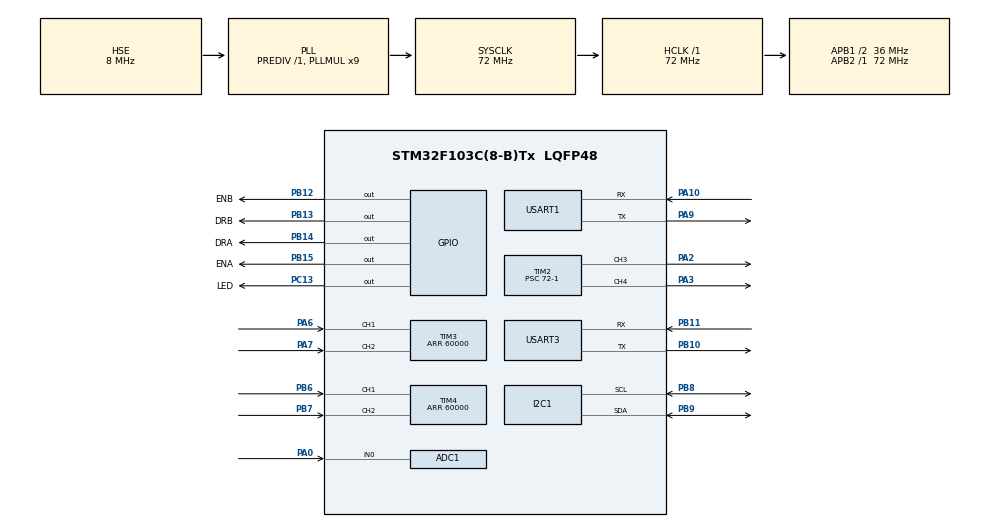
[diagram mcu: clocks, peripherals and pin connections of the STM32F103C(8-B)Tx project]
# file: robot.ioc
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ADC1.Channel-0\#ChannelRegularConversion=ADC_CHANNEL_0
ADC1.NbrOfConversionFlag=1
ADC1.Rank-0\#ChannelRegularConversion=1
ADC1.SamplingTime-0\#ChannelRegularConversion=ADC_SAMPLETIME_1CYCLE_5
ADC1.master=1
Dma.Request0=USART3_RX
Dma.USART3_RX.0.Direction=DMA_PERIPH_TO_MEMORY
Dma.USART3_RX.0.Instance=DMA1_Channel3
Dma.USART3_RX.0.MemDataAlignment=DMA_MDATAALIGN_BYTE
Dma.USART3_RX.0.MemInc=DMA_MINC_ENABLE
Dma.USART3_RX.0.Mode=DMA_NORMAL
Dma.USART3_RX.0.PeriphDataAlignment=DMA_PDATAALIGN_BYTE
Dma.USART3_RX.0.PeriphInc=DMA_PINC_DISABLE
Dma.USART3_RX.0.Priority=DMA_PRIORITY_LOW
FREERTOS.Tasks01=defaultTask,24,128,StartDefaultTask,Default,NULL,Dynamic,NULL,NULL
FREERTOS.configLIBRARY_MAX_SYSCALL_INTERRUPT_PRIORITY=5
FREERTOS.configTOTAL_HEAP_SIZE=8192
FREERTOS.configUSE_NEWLIB_REENTRANT=0
I2C1.I2C_Mode=I2C_Fast
Mcu.Family=STM32F1
Mcu.Name=STM32F103C(8-B)Tx
Mcu.Package=LQFP48
NVIC.DMA1_Channel3_IRQn=true\:5\:0\:true\:false\:true\:true\:false\:true\:true
NVIC.PriorityGroup=NVIC_PRIORITYGROUP_4
NVIC.TIM1_UP_IRQn=true\:15\:0\:true\:false\:true\:false\:false\:true\:true
NVIC.TimeBase=TIM1_UP_IRQn
NVIC.TimeBaseIP=TIM1
NVIC.USART1_IRQn=true\:5\:0\:true\:false\:true\:true\:true\:true\:true
NVIC.USART3_IRQn=true\:5\:0\:true\:false\:true\:true\:true\:true\:true
PA0-WKUP.Signal=ADCx_IN0
PA10.Mode=Asynchronous
PA10.Signal=USART1_RX
PA13.Mode=Serial_Wire
PA13.Signal=SYS_JTMS-SWDIO
PA14.Mode=Serial_Wire
PA14.Signal=SYS_JTCK-SWCLK
PA2.Signal=S_TIM2_CH3
PA3.Signal=S_TIM2_CH4
PA6.Signal=S_TIM3_CH1
PA7.Signal=S_TIM3_CH2
PA9.Mode=Asynchronous
PA9.Signal=USART1_TX
PB10.Mode=Asynchronous
PB10.Signal=USART3_TX
PB11.Mode=Asynchronous
PB11.Signal=USART3_RX
PB12.GPIO_Label=ENB
PB12.Signal=GPIO_Output
PB13.GPIO_Label=DRB
PB13.Signal=GPIO_Output
PB14.GPIO_Label=DRA
PB14.Signal=GPIO_Output
PB15.GPIO_Label=ENA
PB15.Signal=GPIO_Output
PB6.Signal=S_TIM4_CH1
PB7.Signal=S_TIM4_CH2
PB8.Mode=I2C
PB8.Signal=I2C1_SCL
PB9.Mode=I2C
PB9.Signal=I2C1_SDA
PC13-TAMPER-RTC.GPIO_Label=LED
PC13-TAMPER-RTC.Signal=GPIO_Output
PC14-OSC32_IN.Mode=LSE-External-Oscillator
PC14-OSC32_IN.Signal=RCC_OSC32_IN
PC15-OSC32_OUT.Mode=LSE-External-Oscillator
PC15-OSC32_OUT.Signal=RCC_OSC32_OUT
PD0-OSC_IN.Mode=HSE-External-Oscillator
PD0-OSC_IN.Signal=RCC_OSC_IN
PD1-OSC_OUT.Mode=HSE-External-Oscillator
PD1-OSC_OUT.Signal=RCC_OSC_OUT
ProjectManager.HeapSize=0x200
ProjectManager.StackSize=0x400
ProjectManager.TargetToolchain=Makefile
RCC.ADCPresc=RCC_ADCPCLK2_DIV6
RCC.AHBFreq_Value=72000000
RCC.APB1CLKDivider=RCC_HCLK_DIV2
RCC.APB1Freq_Value=36000000
RCC.APB1TimFreq_Value=72000000
RCC.APB2Freq_Value=72000000
RCC.APB2TimFreq_Value=72000000
RCC.HCLKFreq_Value=72000000
RCC.PLLMUL=RCC_PLL_MUL9
RCC.PLLSourceVirtual=RCC_PLLSOURCE_HSE
RCC.SYSCLKFreq_VALUE=72000000
RCC.SYSCLKSource=RCC_SYSCLKSOURCE_PLLCLK
RCC.USBFreq_Value=72000000
SH.ADCx_IN0.0=ADC1_IN0,IN0
SH.S_TIM2_CH3.0=TIM2_CH3,PWM Generation3 CH3
SH.S_TIM2_CH4.0=TIM2_CH4,PWM Generation4 CH4
SH.S_TIM3_CH1.0=TIM3_CH1,Encoder_Interface
SH.S_TIM3_CH2.0=TIM3_CH2,Encoder_Interface
SH.S_TIM4_CH1.0=TIM4_CH1,Encoder_Interface
SH.S_TIM4_CH2.0=TIM4_CH2,Encoder_Interface
TIM2.Channel-PWM\ Generation3\ CH3=TIM_CHANNEL_3
TIM2.Channel-PWM\ Generation4\ CH4=TIM_CHANNEL_4
TIM2.Period=1000-1
TIM2.Prescaler=72-1
TIM3.EncoderMode=TIM_ENCODERMODE_TI12
TIM3.Period=60000
TIM4.EncoderMode=TIM_ENCODERMODE_TI12
TIM4.Period=60000
USART1.VirtualMode=VM_ASYNC
USART3.VirtualMode=VM_ASYNC
VP_FREERTOS_VS_CMSIS_V2.Mode=CMSIS_V2
VP_SYS_VS_tim1.Mode=TIM1
board=custom

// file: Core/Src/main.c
/* USER CODE BEGIN Header */
/**
  ******************************************************************************
  * @file           : main.c
  * @brief          : Main program body
  ******************************************************************************
  * @attention
  *
  * Copyright (c) 2022 STMicroelectronics.
  * All rights reserved.
  *
  * This software is licensed under terms that can be found in the LICENSE file
  * in the root directory of this software component.
  * If no LICENSE file comes with this software, it is provided AS-IS.
  *
  ******************************************************************************
  */
/* USER CODE END Header */
#include "main.h"
#include "cmsis_os.h"
#include "adc.h"
#include "dma.h"
#include "i2c.h"
#include "tim.h"
#include "usart.h"
#include "gpio.h"

/* USER CODE BEGIN Includes */
#include "bsp_led.h"
#include "bsp_encoder.h"
#include "bsp_motor.h"
#include "bsp_usart.h"
#include "bsp_cmd.h"
#include "imu_zero.hpp"
#include "bsp_imu.h"

/* USER CODE END Includes */

void SystemClock_Config(void);
void MX_FREERTOS_Init(void);

int main(void)
{

  /* MCU Configuration--------------------------------------------------------*/

  /* Reset of all peripherals, Initializes the Flash interface and the Systick. */
  HAL_Init();

  /* Configure the system clock */
  SystemClock_Config();

  /* Initialize all configured peripherals */
  MX_GPIO_Init();
  MX_ADC1_Init();
  MX_TIM2_Init();
  MX_TIM3_Init();
  MX_TIM4_Init();
  MX_USART1_UART_Init();
  MX_DMA_Init();
  MX_USART3_UART_Init();
  MX_I2C1_Init();
  /* USER CODE BEGIN 2 */
  log_init();
  led_init();
  encoder_init();
  motor_init();
  usart_init();
  //imu_zero();
  imu_init();
  /* USER CODE END 2 */

  /* Init scheduler */
  osKernelInitialize();  /* Call init function for freertos objects (in freertos.c) */
  MX_FREERTOS_Init();

  /* Start scheduler */
  osKernelStart();

  /* We should never get here as control is now taken by the scheduler */
  /* Infinite loop */
  while (1)
  {

  }
}

void SystemClock_Config(void)
{
  RCC_OscInitTypeDef RCC_OscInitStruct = {0};
  RCC_ClkInitTypeDef RCC_ClkInitStruct = {0};
  RCC_PeriphCLKInitTypeDef PeriphClkInit = {0};

  /** Initializes the RCC Oscillators according to the specified parameters
  * in the RCC_OscInitTypeDef structure.
  */
  RCC_OscInitStruct.OscillatorType = RCC_OSCILLATORTYPE_HSE;
  RCC_OscInitStruct.HSEState = RCC_HSE_ON;
  RCC_OscInitStruct.HSEPredivValue = RCC_HSE_PREDIV_DIV1;
  RCC_OscInitStruct.HSIState = RCC_HSI_ON;
  RCC_OscInitStruct.PLL.PLLState = RCC_PLL_ON;
  RCC_OscInitStruct.PLL.PLLSource = RCC_PLLSOURCE_HSE;
  RCC_OscInitStruct.PLL.PLLMUL = RCC_PLL_MUL9;
  if (HAL_RCC_OscConfig(&RCC_OscInitStruct) != HAL_OK)
  {
    Error_Handler();
  }

  /** Initializes the CPU, AHB and APB buses clocks
  */
  RCC_ClkInitStruct.ClockType = RCC_CLOCKTYPE_HCLK|RCC_CLOCKTYPE_SYSCLK
                              |RCC_CLOCKTYPE_PCLK1|RCC_CLOCKTYPE_PCLK2;
  RCC_ClkInitStruct.SYSCLKSource = RCC_SYSCLKSOURCE_PLLCLK;
  RCC_ClkInitStruct.AHBCLKDivider = RCC_SYSCLK_DIV1;
  RCC_ClkInitStruct.APB1CLKDivider = RCC_HCLK_DIV2;
  RCC_ClkInitStruct.APB2CLKDivider = RCC_HCLK_DIV1;

  if (HAL_RCC_ClockConfig(&RCC_ClkInitStruct, FLASH_LATENCY_2) != HAL_OK)
  {
    Error_Handler();
  }
  PeriphClkInit.PeriphClockSelection = RCC_PERIPHCLK_ADC;
  PeriphClkInit.AdcClockSelection = RCC_ADCPCLK2_DIV6;
  if (HAL_RCCEx_PeriphCLKConfig(&PeriphClkInit) != HAL_OK)
  {
    Error_Handler();
  }
}

void HAL_TIM_PeriodElapsedCallback(TIM_HandleTypeDef *htim)
{
  if (htim->Instance == TIM1) {
    HAL_IncTick();
  }
}

void Error_Handler(void)
{
  __disable_irq();
  while (1)
  {
  }
}

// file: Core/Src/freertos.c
/* USER CODE BEGIN Header */
/**
  ******************************************************************************
  * File Name          : freertos.c
  * Description        : Code for freertos applications
  ******************************************************************************
  * @attention
  *
  * Copyright (c) 2022 STMicroelectronics.
  * All rights reserved.
  *
  * This software is licensed under terms that can be found in the LICENSE file
  * in the root directory of this software component.
  * If no LICENSE file comes with this software, it is provided AS-IS.
  *
  ******************************************************************************
  */
/* USER CODE END Header */

#include "FreeRTOS.h"
#include "task.h"
#include "main.h"
#include "cmsis_os.h"

/* USER CODE BEGIN Includes */
#include "led_task.h"
#include "move_task.h"
#include "cmd_task.h"
#include "sned_task.h"
#include "imu_task.h"
/* USER CODE END Includes */

/* Definitions for defaultTask */
osThreadId_t defaultTaskHandle;
const osThreadAttr_t defaultTask_attributes = {
  .name = "defaultTask",
  .stack_size = 128 * 4,
  .priority = (osPriority_t) osPriorityNormal,
};

/* USER CODE BEGIN FunctionPrototypes */

osThreadId_t ledTaskHandle;
const osThreadAttr_t ledTask_attributes = {
  .name = "led_task",
  .stack_size = 128 * 4,
  .priority = (osPriority_t) osPriorityNormal1,
};

osThreadId_t cmdTaskHandle;
const osThreadAttr_t cmdTask_attributes = {
  .name = "cmd_task",
  .stack_size = 128 * 4,
  .priority = (osPriority_t) osPriorityNormal2,
};

osThreadId_t moveTaskHandle;
const osThreadAttr_t moveTask_attributes = {
  .name = "move_task",
  .stack_size = 256 * 4,
  .priority = (osPriority_t) osPriorityNormal3,
};

osThreadId_t snedTaskHandle;
const osThreadAttr_t snedTask_attributes = {
  .name = "sned_task",
  .stack_size = 128 * 4,
  .priority = (osPriority_t) osPriorityNormal4,
};

osThreadId_t imuTaskHandle;
const osThreadAttr_t imuTask_attributes = {
  .name = "imu_task",
  .stack_size = 1024 * 4,
  .priority = (osPriority_t) osPriorityHigh1,
};

/* USER CODE END FunctionPrototypes */

void StartDefaultTask(void *argument);

void MX_FREERTOS_Init(void); /* (MISRA C 2004 rule 8.1) */

void MX_FREERTOS_Init(void) {

  /* Create the thread(s) */
  /* creation of defaultTask */
  defaultTaskHandle = osThreadNew(StartDefaultTask, NULL, &defaultTask_attributes);

  /* USER CODE BEGIN RTOS_THREADS */
  /* add threads, ... */

  ledTaskHandle = osThreadNew(led_task, NULL, &ledTask_attributes);
  cmdTaskHandle = osThreadNew(cmd_task, NULL, &cmdTask_attributes);
  moveTaskHandle = osThreadNew(move_task, NULL, &moveTask_attributes);
  snedTaskHandle = osThreadNew(send_task, NULL, &snedTask_attributes);
  imuTaskHandle = osThreadNew(imu_task, NULL, &imuTask_attributes);
  /* USER CODE END RTOS_THREADS */

}

void StartDefaultTask(void *argument)
{
  for(;;)
  {
    osDelay(1);
  }
}
